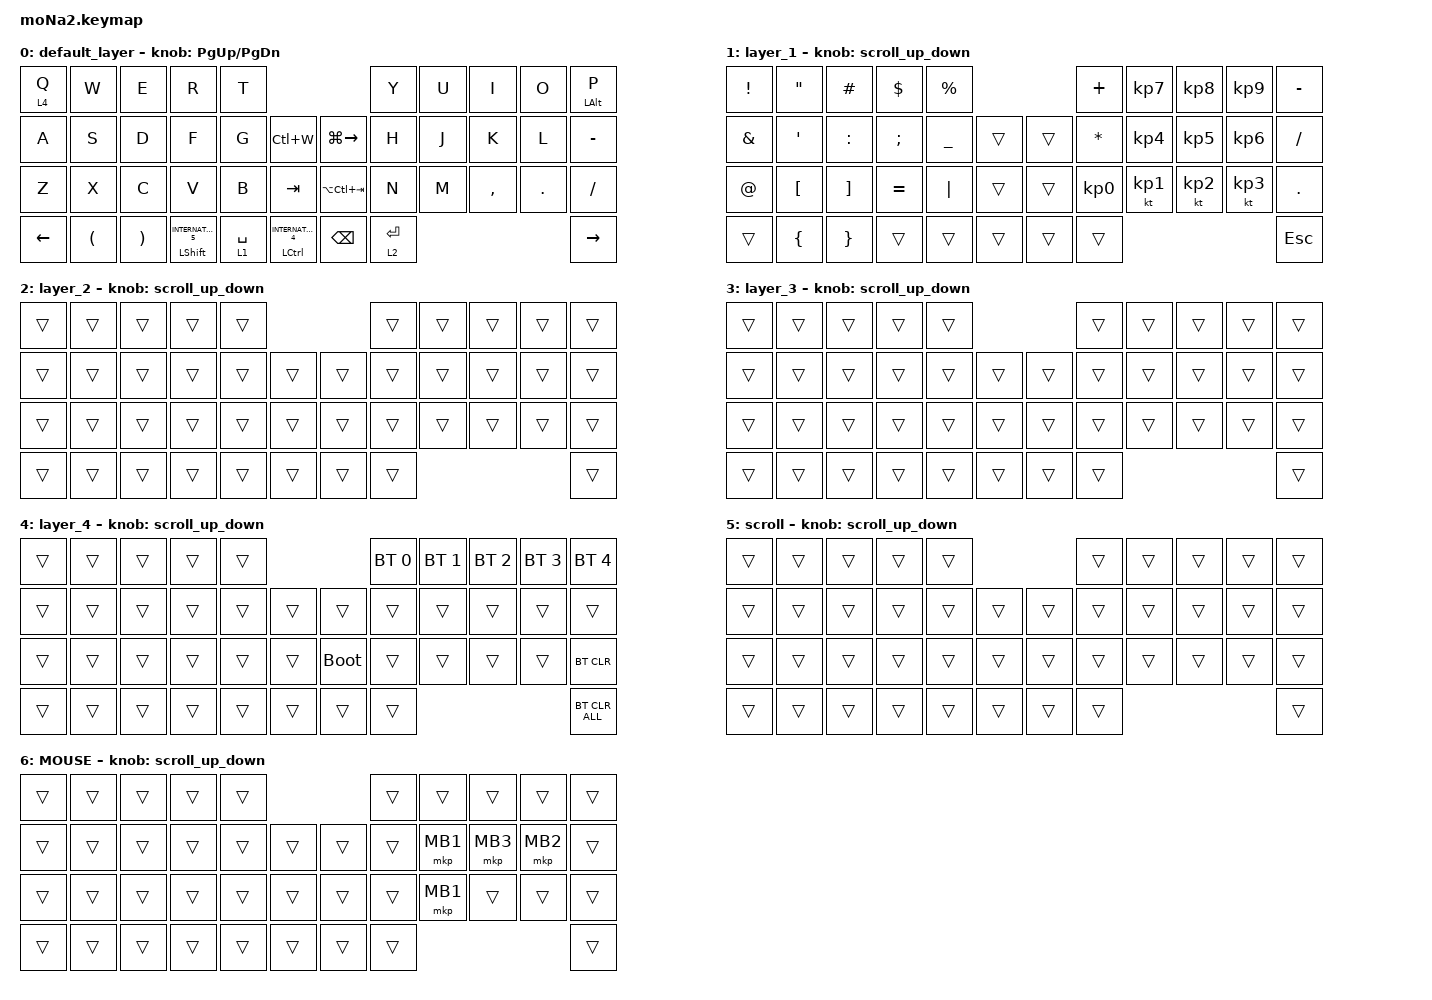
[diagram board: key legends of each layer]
#include <behaviors.dtsi>
#include <dt-bindings/zmk/bt.h>
#include <dt-bindings/zmk/keys.h>
#include <dt-bindings/zmk/keys.h>
#include <dt-bindings/zmk/pointing.h>
#include <dt-bindings/zmk/pointing.h>

#define ZMK_POINTING_DEFAULT_SCRL_VAL 100
#define MOUSE 6

&mt {
    flavor = "balanced";
    quick-tap-ms = <0>;
};

/ {
    combos { compatible = "zmk,combos"; };

    macros {
        to_layer_0: to_layer_0 {
            compatible = "zmk,behavior-macro-one-param";
            #binding-cells = <1>;
            bindings = <&to 0 &macro_param_1to1 &kp MACRO_PLACEHOLDER>;
            label = "TO_LAYER_0";
        };
    };

    behaviors {
        lt_to_layer_0: lt_to_layer_0 {
            compatible = "zmk,behavior-hold-tap";
            label = "LAYER_TAP_TO_0";
            bindings = <&mo>, <&to_layer_0>;

            #binding-cells = <2>;
            tapping-term-ms = <200>;
        };

        scroll_up_down: behavior_sensor_rotate_mouse_wheel_up_down {
            compatible = "zmk,behavior-sensor-rotate";
            #sensor-binding-cells = <0>;
            bindings = <&msc SCRL_UP>, <&msc SCRL_DOWN>;

            tap-ms = <20>;
        };
    };

    keymap {
        compatible = "zmk,keymap";

        default_layer {
            bindings = <
&lt 4 Q         &kp W                 &kp E                  &kp R                           &kp T                                                                 &kp Y        &kp U  &kp I      &kp O    &mt LEFT_ALT P
&kp A           &kp S                 &kp D                  &kp F                           &kp G        &kp LC(W)                           &kp LG(RIGHT_ARROW)  &kp H        &kp J  &kp K      &kp L    &kp MINUS
&kp Z           &kp X                 &kp C                  &kp V                           &kp B        &kp TAB                             &kp LA(LC(TAB))      &kp N        &kp M  &kp COMMA  &kp DOT  &kp SLASH
&kp LEFT_ARROW  &kp LEFT_PARENTHESIS  &kp RIGHT_PARENTHESIS  &mt LEFT_SHIFT INTERNATIONAL_5  &lt 1 SPACE  &mt LEFT_CONTROL INTERNATIONAL_4    &kp BACKSPACE        &lt 2 ENTER                             &kp RIGHT_ARROW
            >;

            sensor-bindings = <&inc_dec_kp PG_UP PG_DN>;
        };

        layer_1 {
            bindings = <
&kp EXCLAMATION  &kp DOUBLE_QUOTES  &kp HASH           &kp DOLLAR     &kp PERCENT                    &kp PLUS         &kp KP_NUMBER_7  &kp KP_NUMBER_8  &kp KP_NUMBER_9  &kp MINUS
&kp AMPERSAND    &kp SQT            &kp COLON          &kp SEMICOLON  &kp UNDER    &trans    &trans  &kp ASTERISK     &kp KP_NUMBER_4  &kp KP_NUMBER_5  &kp KP_NUMBER_6  &kp SLASH
&kp AT_SIGN      &kp LEFT_BRACKET   &kp RIGHT_BRACKET  &kp EQUAL      &kp PIPE     &trans    &trans  &kp KP_NUMBER_0  &kt KP_NUMBER_1  &kt KP_NUMBER_2  &kt KP_NUMBER_3  &kp PERIOD
&trans           &kp LEFT_BRACE     &kp RIGHT_BRACE    &trans         &trans       &trans    &trans  &trans                                                              &kp ESC
            >;

            sensor-bindings = <&scroll_up_down>;
        };

        layer_2 {
            bindings = <
&trans  &trans  &trans  &trans  &trans                    &trans  &trans  &trans  &trans  &trans
&trans  &trans  &trans  &trans  &trans  &trans    &trans  &trans  &trans  &trans  &trans  &trans
&trans  &trans  &trans  &trans  &trans  &trans    &trans  &trans  &trans  &trans  &trans  &trans
&trans  &trans  &trans  &trans  &trans  &trans    &trans  &trans                          &trans
            >;

            sensor-bindings = <&scroll_up_down>;
        };

        layer_3 {
            bindings = <
&trans  &trans  &trans  &trans  &trans                    &trans  &trans  &trans  &trans  &trans
&trans  &trans  &trans  &trans  &trans  &trans    &trans  &trans  &trans  &trans  &trans  &trans
&trans  &trans  &trans  &trans  &trans  &trans    &trans  &trans  &trans  &trans  &trans  &trans
&trans  &trans  &trans  &trans  &trans  &trans    &trans  &trans                          &trans
            >;

            sensor-bindings = <&scroll_up_down>;
        };

        layer_4 {
            bindings = <
&trans  &trans  &trans  &trans  &trans                         &bt BT_SEL 0  &bt BT_SEL 1  &bt BT_SEL 2  &bt BT_SEL 3  &bt BT_SEL 4
&trans  &trans  &trans  &trans  &trans  &trans    &trans       &trans        &trans        &trans        &trans        &trans
&trans  &trans  &trans  &trans  &trans  &trans    &bootloader  &trans        &trans        &trans        &trans        &bt BT_CLR
&trans  &trans  &trans  &trans  &trans  &trans    &trans       &trans                                                  &bt BT_CLR_ALL
            >;

            sensor-bindings = <&scroll_up_down>;
        };

        scroll {
            bindings = <
&trans  &trans  &trans  &trans  &trans                    &trans  &trans  &trans  &trans  &trans
&trans  &trans  &trans  &trans  &trans  &trans    &trans  &trans  &trans  &trans  &trans  &trans
&trans  &trans  &trans  &trans  &trans  &trans    &trans  &trans  &trans  &trans  &trans  &trans
&trans  &trans  &trans  &trans  &trans  &trans    &trans  &trans                          &trans
            >;

            sensor-bindings = <&scroll_up_down>;
        };

        MOUSE {
            bindings = <
&trans  &trans  &trans  &trans  &trans                    &trans  &trans    &trans    &trans    &trans
&trans  &trans  &trans  &trans  &trans  &trans    &trans  &trans  &mkp MB1  &mkp MB3  &mkp MB2  &trans
&trans  &trans  &trans  &trans  &trans  &trans    &trans  &trans  &mkp MB1  &trans    &trans    &trans
&trans  &trans  &trans  &trans  &trans  &trans    &trans  &trans                                &trans
            >;

            sensor-bindings = <&scroll_up_down>;
        };
    };
};
